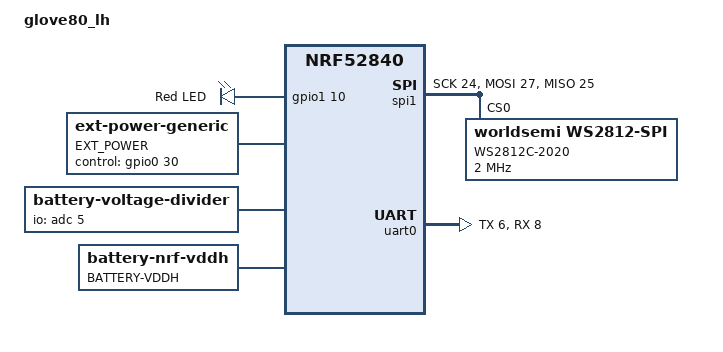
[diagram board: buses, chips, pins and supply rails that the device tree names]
/*
 * Copyright (c) 2021 The ZMK Contributors
 *
 * SPDX-License-Identifier: MIT
 */

/dts-v1/;
#include <nordic/nrf52840_qiaa.dtsi>
#include "glove80.dtsi"

/ {
	model = "glove80_lh";
	compatible = "glove80_lh";

	chosen {
		zmk,underglow = &led_strip;
	};

	leds {
		compatible = "gpio-leds";
		red_led: led_0 {
			gpios = <&gpio1 10 GPIO_ACTIVE_HIGH>;
			label = "Red LED";
		};
	};

	ext-power {
		compatible = "zmk,ext-power-generic";
		label = "EXT_POWER";
		control-gpios = <&gpio0 30 GPIO_ACTIVE_HIGH>; /**[SC] WS2812_CE */
		init-delay-ms = <10>;
	};

	vbatt-divider {
		compatible = "zmk,battery-voltage-divider";
		label = "BATTERY";
		io-channels = <&adc 5>;
		output-ohms = <820000>; /** Double check that this is right */
		full-ohms = <(1500000 + 820000)>;
	};

	vbatt-vddh {
		compatible = "zmk,battery-nrf-vddh";
		label = "BATTERY-VDDH";
	};
};

&spi1 {
	compatible = "nordic,nrf-spim";
	/* Cannot be used together with i2c0. */
	status = "okay";
	mosi-pin = <27>;
	// Unused pins, needed for SPI definition, but not used by the ws2812 driver itself.
	sck-pin = <24>; // NC
	miso-pin = <25>; // NC

	led_strip: ws2812@0 {
		compatible = "worldsemi,ws2812-spi";
		label = "WS2812C-2020";

		/* SPI */
		reg = <0>; /* ignored, but necessary for SPI bindings */
		spi-max-frequency = <2000000>;

		/* WS2812 */
		chain-length = <40>; /* 18 keys have underglow at the moment */
		spi-one-frame = <0x70>;
		spi-zero-frame = <0x40>;
	};
};

// [SC] Not sure if this section is necessary
&uart0 {
	compatible = "nordic,nrf-uarte";
	tx-pin = <6>;
	rx-pin = <8>;
};

&kscan0 {
	row-gpios
		= <&gpio0 26 GPIO_OPEN_SOURCE> // LH ROW1
		, <&gpio0 5 GPIO_OPEN_SOURCE> // LH ROW2
		, <&gpio0 7 GPIO_OPEN_SOURCE> // LH ROW3
		, <&gpio1 8 GPIO_OPEN_SOURCE> // LH ROW4
		, <&gpio0 11 GPIO_OPEN_SOURCE> // LH ROW5
		, <&gpio0 12 GPIO_OPEN_SOURCE> // LH ROW6
		;
	col-gpios
		= <&gpio1 1 (GPIO_ACTIVE_HIGH | GPIO_PULL_DOWN)> // LH COL6
		, <&gpio1 3 (GPIO_ACTIVE_HIGH | GPIO_PULL_DOWN)> // LH COL5
		, <&gpio1 5 (GPIO_ACTIVE_HIGH | GPIO_PULL_DOWN)> // LH COL4
		, <&gpio1 7 (GPIO_ACTIVE_HIGH | GPIO_PULL_DOWN)> // LH COL3
		, <&gpio1 6 (GPIO_ACTIVE_HIGH | GPIO_PULL_DOWN)> // LH COL2
		, <&gpio1 4 (GPIO_ACTIVE_HIGH | GPIO_PULL_DOWN)> // LH COL1
		, <&gpio0 2 (GPIO_ACTIVE_HIGH | GPIO_PULL_DOWN)> // LH Thumb
		;
};

